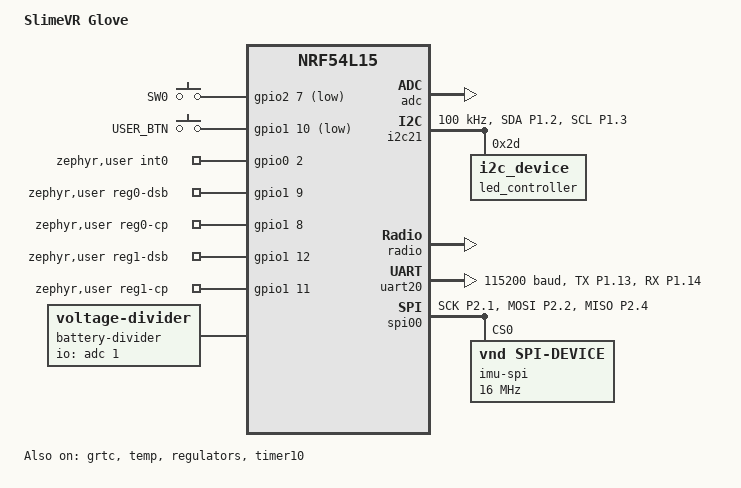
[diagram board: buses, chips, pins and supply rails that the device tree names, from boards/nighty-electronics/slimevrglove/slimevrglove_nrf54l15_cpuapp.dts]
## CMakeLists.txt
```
cmake_minimum_required(VERSION 3.20.0)
find_package(Zephyr REQUIRED HINTS $ENV{ZEPHYR_BASE})

project(Glove_imu_test)

target_sources(app PRIVATE src/main.c)
```

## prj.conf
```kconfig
#CONFIG_NCS_SAMPLES_DEFAULTS
CONFIG_ASSERT=y
CONFIG_ASSERT_NO_COND_INFO=y
CONFIG_ASSERT_NO_MSG_INFO=y
CONFIG_RESET_ON_FATAL_ERROR=y

CONFIG_NCS_APPLICATION_BOOT_BANNER_STRING="SlimeVRGlove"
#CONFIG_NCS_BOOT_BANNER=n
CONFIG_BOOT_BANNER=n

CONFIG_ESB=y
#need to enable for nRF54L
CONFIG_NRFX_DPPI10=y

CONFIG_ADC=y
CONFIG_ADC_NRFX_SAADC=y
CONFIG_FPU=y
CONFIG_I2C=y
CONFIG_SPI=y
CONFIG_PINCTRL=y
CONFIG_SENSOR=y
CONFIG_ESB=y

CONFIG_CMSIS_DSP=y
CONFIG_CMSIS_DSP_BASICMATH=y
CONFIG_CMSIS_DSP_CONTROLLER=y
CONFIG_CMSIS_DSP_FASTMATH=y
CONFIG_CMSIS_DSP_SUPPORT=y

CONFIG_NVS=y
CONFIG_NVS_LOOKUP_CACHE=y
CONFIG_NVS_INIT_BAD_MEMORY_REGION=y

CONFIG_POWEROFF=y
CONFIG_REBOOT=y

CONFIG_FLASH=y
CONFIG_FLASH_PAGE_LAYOUT=y
CONFIG_FLASH_MAP=y

CONFIG_SETTINGS=y
CONFIG_SETTINGS_RUNTIME=y
CONFIG_SETTINGS_NONE=y

CONFIG_MPU_ALLOW_FLASH_WRITE=y

CONFIG_RETAINED_MEM=y

CONFIG_USE_SEGGER_RTT=y
CONFIG_LOG=y
#CONFIG_PRINTK=y
CONFIG_LOG_MODE_DEFERRED=y
CONFIG_LOG_SPEED=y
CONFIG_LOG_BACKEND_RTT=y
CONFIG_CBPRINTF_FP_SUPPORT=y
CONFIG_ADC_LOG_LEVEL_OFF=y
CONFIG_LOG_FUNC_NAME_PREFIX_ERR=y
CONFIG_LOG_BUFFER_SIZE=1536
CONFIG_LOG_BACKEND_UART_AUTOSTART=y
CONFIG_LOG_PROCESS_THREAD_SLEEP_MS=50
CONFIG_LOG_PROCESS_THREAD_STACK_SIZE=1024

CONFIG_PWM=y
CONFIG_GPIO=y

CONFIG_CRC=y

CONFIG_NEWLIB_LIBC=y
#deprecated?
CONFIG_NRFX_TIMER10=y

# Use uncalibrated RC clock on boot, will switch to external oscillator in the app after boot
CONFIG_CLOCK_CONTROL_NRF_K32SRC_RC=y
CONFIG_CLOCK_CONTROL_NRF_K32SRC_RC_CALIBRATION=y
CONFIG_CLOCK_CONTROL_NRF_K32SRC_SYNTH=n

# dont need it
CONFIG_CRYPTO=n

# set timeout for 25ms, sufficient for ~1000 bytes
CONFIG_I2C_NRFX_TRANSFER_TIMEOUT=25

CONFIG_USB_DEVICE_HID=y
CONFIG_USB_DEVICE_VID=0x1209
CONFIG_USB_DEVICE_PID=0x7692
CONFIG_USB_HID_BOOT_PROTOCOL=y
CONFIG_USB_DEVICE_INITIALIZE_AT_BOOT=n
CONFIG_USB_CDC_ACM=y
CONFIG_UART_INTERRUPT_DRIVEN=y
CONFIG_USB_WORKQUEUE_STACK_SIZE=512

CONFIG_SERIAL=y
CONFIG_CONSOLE=y
CONFIG_RTT_CONSOLE=y
CONFIG_UART_CONSOLE=y
CONFIG_UART_LINE_CTRL=y
# fit "write all <base64:173>"
CONFIG_CONSOLE_INPUT_MAX_LINE_LEN=256

CONFIG_LOG=y
CONFIG_USB_DRIVER_LOG_LEVEL_ERR=y
CONFIG_USB_DEVICE_LOG_LEVEL_ERR=y
CONFIG_USB_CDC_ACM_LOG_LEVEL_OFF=y

CONFIG_LOG_BACKEND_UART=y

CONFIG_CONSOLE_SUBSYS=y
CONFIG_CONSOLE_GETLINE=y

CONFIG_NVS_LOG_LEVEL_WRN=y
CONFIG_USB_HID_LOG_LEVEL_WRN=y

CONFIG_USB_DEVICE_SOF=y
CONFIG_USB_HID_REPORTS=256

#CONFIG_USB_HID_POLL_INTERVAL_MS=1
CONFIG_USB_HID_POLL_INTERVAL_MS=0
CONFIG_HID_INTERRUPT_EP_MPS=64
#CONFIG_ENABLE_HID_INT_OUT_EP=y

CONFIG_SYSTEM_WORKQUEUE_STACK_SIZE=1024
CONFIG_MAIN_STACK_SIZE=1024
#crashing on nrf54l at 512

CONFIG_THREAD_NAME=y

CONFIG_HEAP_MEM_POOL_SIZE=2048
CONFIG_ISR_STACK_SIZE=2048

CONFIG_PM_DEVICE=y

CONFIG_BASE64=y

#CONFIG_THREAD_ANALYZER=y
#CONFIG_THREAD_ANALYZER_AUTO=y
#CONFIG_THREAD_ANALYZER_AUTO_INTERVAL=5

#about 20KB saved
#CONFIG_LTO=y
#CONFIG_ISR_TABLES_LOCAL_DECLARATION=y

#CONFIG_USE_IMU_TIMEOUT=n
CONFIG_NRFX_GRTC=y
CONFIG_LOG_BLOCK_IN_THREAD=y
CONFIG_SEGGER_RTT_BUFFER_SIZE_UP=4096
CONFIG_SEGGER_RTT_MODE_BLOCK_IF_FIFO_FULL=y
CONFIG_LOG_BLOCK_IN_THREAD_TIMEOUT_MS=-1

CONFIG_DEBUG_THREAD_INFO=y
CONFIG_ASSERT=y
CONFIG_DEBUG=y

CONFIG_CLOCK_CONTROL_NRF=y
CONFIG_CLOCK_CONTROL_NRF_K32SRC_500PPM=y
CONFIG_ESB_DYNAMIC_INTERRUPTS=n
CONFIG_MPSL=n
CONFIG_NRF_SYS_EVENT=y
CONFIG_NRFX_EGU10=y
CONFIG_SOC_NRF_FORCE_CONSTLAT=y
```

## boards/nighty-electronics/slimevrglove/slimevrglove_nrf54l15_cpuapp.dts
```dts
/dts-v1/;
#include <nordic/nrf54l15_cpuapp.dtsi>
#include "slimevrglove-pinctrl.dtsi"

&pinctrl {
	/omit-if-no-ref/ spi00_default: spi00_default {
		group1 {
			psels = <NRF_PSEL(SPIM_SCK, 2, 1)>,
				<NRF_PSEL(SPIM_MOSI, 2, 2)>;
			nordic,drive-mode = <NRF_DRIVE_E0E1>;
		};

		group2 {
			psels = <NRF_PSEL(SPIM_MISO, 2, 4)>;
			bias-pull-up;
		};
	};

	/omit-if-no-ref/ spi00_sleep: spi00_sleep {
		group1 {
			psels = <NRF_PSEL(SPIM_SCK, 2, 1)>,
				<NRF_PSEL(SPIM_MOSI, 2, 2)>,
				<NRF_PSEL(SPIM_MISO, 2, 4)>;
			low-power-enable;
		};
	};

	/omit-if-no-ref/ uart20_default: uart20_default {
		group1 {
			psels = <NRF_PSEL(UART_TX, 1, 13)>;
		};

		group2 {
			psels = <NRF_PSEL(UART_RX, 1, 14)>;
			bias-pull-up;
		};
	};

	/omit-if-no-ref/ uart20_sleep: uart20_sleep {
		group1 {
			psels = <NRF_PSEL(UART_TX, 1, 13)>,
				<NRF_PSEL(UART_RX, 1, 14)>;
			low-power-enable;
		};
	};

	i2c21_default: i2c21_default {
		group1 {
			psels = <NRF_PSEL(TWIM_SDA, 1, 2)>,
				<NRF_PSEL(TWIM_SCL, 1, 3)>;
			bias-pull-up;
		};
	};

	i2c21_sleep: i2c21_sleep {
		group1 {
			psels = <NRF_PSEL(TWIM_SDA, 1, 2)>,
				<NRF_PSEL(TWIM_SCL, 1, 3)>;
			low-power-enable;
		};
	};
};

/ {
	model = "SlimeVR Glove";
	compatible = "nighty-electronics,slimevrglove-cpuapp";

	buttons {
		compatible = "gpio-keys";

		button0: button_0 {
			gpios = <&gpio2 7 (GPIO_PULL_UP | GPIO_ACTIVE_LOW)>;
			label = "SW0";
		};

		button1: button_1 {
			gpios = <&gpio1 10 (GPIO_PULL_UP | GPIO_ACTIVE_LOW)>;
			label = "USER_BTN";
		};
	};

	zephyr,user {
		int0-gpios = <&gpio0 2 0>;
		reg0-dsb-gpios = <&gpio1 9 (GPIO_PULL_DOWN | GPIO_ACTIVE_HIGH)>;
		reg0-cp-gpios = <&gpio1 8 (GPIO_PULL_DOWN | GPIO_ACTIVE_HIGH)>;
		reg1-dsb-gpios = <&gpio1 12 (GPIO_PULL_DOWN | GPIO_ACTIVE_HIGH)>;
		reg1-cp-gpios = <&gpio1 11 (GPIO_PULL_DOWN | GPIO_ACTIVE_HIGH)>;
		multiple-imus = <1>;
	};

	battery-divider {
		compatible = "voltage-divider";
		status = "okay";
		io-channels = <&adc 1>; // Measure VDDHDIV5
		output-ohms = <1>;
		full-ohms = <2>;
	};

	aliases {
		sw0 = &button0;
		sw1 = &button1;
	};

	chosen {
		zephyr,code-partition = &slot0_partition;
		zephyr,sram = &cpuapp_sram;
		zephyr,flash = &cpuapp_rram;
		zephyr,flash-controller = &rram_controller;
		zephyr,console = &uart20;
		zephyr,shell-uart = &uart20;
		zephyr,uart-mcumgr = &uart20;
		zephyr,bt-mon-uart = &uart20;
		zephyr,bt-c2h-uart = &uart20;
	};
};

&grtc {
	owned-channels = <0 1 2 3 4 5 6 7 8 9 10 11>;
	/* Channels 7-11 reserved for Zero Latency IRQs, 3-4 for FLPR */
	child-owned-channels = <3 4 7 8 9 10 11>;
	status = "okay";
};

&adc {
	status = "okay";
};

&clock {
	status = "okay";
};

&temp {
	status = "okay";
};

&cpuapp_sram {
	status = "okay";
};

&i2c21 {
	status = "okay";
	pinctrl-0 = <&i2c21_default>;
	pinctrl-1 = <&i2c21_sleep>;
	pinctrl-names = "default", "sleep";
	clock-frequency = <I2C_BITRATE_STANDARD>;

	led_controller: led_controller@2d {
		compatible = "i2c_device";
		reg = <0x2d>;
		label = "led_controller";
	};
};

&radio {
	status = "okay";
};

&uicr {
	nfct-pins-as-gpios;
};

&regulators {
	status = "okay";
};

&timer10 {
	status = "okay";
};

&nfct {
	status = "disabled";
};

&gpio0 {
	status = "okay";
};

&gpio1 {
	status = "okay";
};

&gpio2 {
	status = "okay";
};

&gpiote20 {
	status = "okay";
};

&gpiote30 {
	status = "okay";
};

&uart20 {
	status = "okay";
	pinctrl-0 = <&uart20_default>;
	pinctrl-1 = <&uart20_sleep>;
	pinctrl-names = "default", "sleep";
	current-speed = <115200>;
};

&spi00 {

	status = "okay";
	compatible = "nordic,nrf-spim";
	pinctrl-0 = <&spi00_default>;
	pinctrl-1 = <&spi00_sleep>;
	pinctrl-names = "default", "sleep";

	imu_spi: imu_spi@0 {
		status = "okay";
		compatible = "vnd,spi-device";
		label = "imu-spi";
		reg = <0>;
		spi-max-frequency = <DT_FREQ_M(16)>;
	};
};
#include <nordic/nrf54l15_partition.dtsi>
```

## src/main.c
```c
#include <zephyr/kernel.h>
#include <zephyr/drivers/i2c.h>
#include <zephyr/drivers/gpio.h>
#include <zephyr/drivers/spi.h>
#include <zephyr/logging/log.h>

LOG_MODULE_REGISTER(main_app, LOG_LEVEL_INF);

#define I2C21_NODE DT_NODELABEL(led_controller)

#define SW1_NODE DT_ALIAS(sw1)

#define ZEPHYR_USER_NODE DT_PATH(zephyr_user)

#define IMU_NODE DT_NODELABEL(imu_spi)

static struct k_work button_work;

static const struct i2c_dt_spec i2c_led_controller = I2C_DT_SPEC_GET(I2C21_NODE);

static const struct gpio_dt_spec button = GPIO_DT_SPEC_GET(SW1_NODE, gpios);

static struct gpio_callback button_cb_data;

int write_to_i2c(uint8_t reg, uint8_t val)
{
        uint8_t buf[2] = {reg, val};
        int ret = i2c_write_dt(&i2c_led_controller, buf, sizeof(buf));
        if (ret != 0)
        {
                LOG_ERR("I2C Fail [Reg 0x%02X = 0x%02X], Err: %d", reg, val, ret);
        }
        return ret;
}

int read_from_i2c(uint8_t reg, uint8_t *val)
{
        int ret = i2c_write_read_dt(&i2c_led_controller, &reg, sizeof(reg), val, sizeof(*val));
        if (ret != 0)
        {
                LOG_ERR("Failed to read reg 0x%02X [Addr 0x%02X], Err: %d",
                        reg, i2c_led_controller.addr, ret);
        }
        return ret;
}

void dump_lp5817_registers(void)
{
        uint8_t reg_val;
        // Check ENABLE, DEV_CONFIG, MASTER_CURRENT, PWM, and Dot Correction registers
        uint8_t regs_to_check[] = {0x00, 0x01, 0x02, 0x03, 0x04,
                                   0x0D, 0x0E, 0x0F,
                                   0x13,
                                   0x14, 0x15, 0x16,
                                   0x18, 0x19, 0x1A,
                                   0x40};

        LOG_INF("--- LP5817 Register Dump ---");
        for (size_t i = 0; i < ARRAY_SIZE(regs_to_check); i++)
        {
                if (read_from_i2c(regs_to_check[i], &reg_val) == 0)
                {
                        LOG_INF("Reg [0x%02X] = 0x%02X", regs_to_check[i], reg_val);
                }
                else
                {
                        LOG_WRN("Could not read from REG [0x%02X] = 0x%02X", regs_to_check[i], reg_val);
                }
        }
}

void set_led_purple(void)
{
        int ret;

        ret = write_to_i2c(0x00, 0x01);
        if (ret != 0)
        {
                LOG_ERR("Failed to enable LP5817");
                return;
        }
        k_msleep(2);

        ret = write_to_i2c(0x02, 0x3F);
        if (ret != 0)
        {
                LOG_ERR("Failed to set master current");
                return;
        }

        write_to_i2c(0x01, 0x01);

        write_to_i2c(0x02, 0x07);

        write_to_i2c(0x14, 0x01);
        write_to_i2c(0x15, 0x00);
        write_to_i2c(0x16, 0x01);

        LOG_INF("Settings LED colours");
        write_to_i2c(0x18, 0xFF);
        write_to_i2c(0x19, 0x00);
        write_to_i2c(0x1A, 0xFF);

        write_to_i2c(0x0F, 0x55);
}

void set_led_blue()
{
        LOG_INF("Settings LED colours");
        write_to_i2c(0x18, 0x00); // OUT0_PWM (Red) = 0%%
        write_to_i2c(0x19, 0x00); // OUT1_PWM (Green) = 0%
        write_to_i2c(0x1A, 0xFF); // OUT2_PWM (Blue) = 100%

        write_to_i2c(0x0F, 0x55);
}

void button_work_handler(struct k_work *work)
{
        set_led_blue();
        k_sleep(K_MSEC(1000));
        set_led_purple();
}

int init_buttons()
{
        int ret;

        if (!device_is_ready(button.port))
        {
                LOG_ERR("Button GPIO device not ready");
                return -1;
        }

        ret = gpio_pin_configure_dt(&button, GPIO_INPUT);
        if (ret < 0)
        {
                LOG_ERR("Failed to configure button pin");
                return ret;
        }
        ret = gpio_pin_interrupt_configure_dt(&button, GPIO_INT_EDGE_TO_ACTIVE);

        return 1;
}

void button_pressed(const struct device *dev, struct gpio_callback *cb, uint32_t pins)
{
        LOG_INF("Button pressed");
        k_work_submit(&button_work);
}

/*
IMU Read/Write loop
Set Imu
        Use shift reg to set CS pin
        Set CS High
Transceive
        Over the MOSI, MISO pins
Close comms
        Set CS to low

Repeat
*/

int main(void)
{
        // int ret;

        // k_work_init(&button_work, button_work_handler);

        // gpio_init_callback(&button_cb_data, button_pressed, BIT(button.pin));
        // gpio_add_callback(button.port, &button_cb_data);

        // if (!device_is_ready(i2c_led_controller.bus))
        // {
        //         LOG_ERR("I2C bus %s is not ready!\n", i2c_led_controller.bus->name);
        //         return -1;
        // }
        // set_led_purple();

        // // dump_lp5817_registers();

        // ret = init_buttons();
        // while (1)
        // {
        //         k_sleep(K_MSEC(1000));
        // }

        // return 0;
}
```

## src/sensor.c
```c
#include <zephyr/logging/log.h>
#include <zephyr/types.h>
#include <zephyr/drivers/spi.h>

#include "sensor.h"

LOG_MODULE_REGISTER(sensor_scan, LOG_LEVEL_INF);

#define SPI_OP SPI_OP_MODE_MASTER | SPI_TRANSFER_MSB | SPI_WORD_SET(8)

#define ZEPHYR_USER_NODE DT_PATH(zephyr_user)

#define IMU_NODE DT_NODELABEL(imu_spi)

#define ICM45686_REG_WHO_AM_I 0x72
#define SPI_READ_BIT 0x80

static const struct spi_dt_spec imu_spec = SPI_DT_SPEC_GET(IMU_NODE, SPI_OP, 0);

static const struct gpio_dt_spec reg0_dsb = GPIO_DT_SPEC_GET(ZEPHYR_USER_NODE, reg0_dsb_gpios);
static const struct gpio_dt_spec reg0_cp = GPIO_DT_SPEC_GET(ZEPHYR_USER_NODE, reg0_cp_gpios);

static const struct gpio_dt_spec reg1_dsb = GPIO_DT_SPEC_GET(ZEPHYR_USER_NODE, reg1_dsb_gpios);
static const struct gpio_dt_spec reg1_cp = GPIO_DT_SPEC_GET(ZEPHYR_USER_NODE, reg1_cp_gpios);

// static const struct gpio_dt_spec imu_int = GPIO_DT_SPEC_GET(ZEPHYR_USER_NODE, imu_int_gpios);

static struct k_thread sensor_thread_id;
static K_THREAD_STACK_DEFINE(sensor_thread_id_stack, 1024);

// K_THREAD_DEFINE(sensor_init_thread_id, 512, sensor_scan, NULL, NULL, NULL, 1, 0, 0);

int init_shift_reg(void)
{
    if (!gpio_is_ready_dt(&reg0_dsb) || !gpio_is_ready_dt(&reg0_cp) ||
        !gpio_is_ready_dt(&reg1_dsb) || !gpio_is_ready_dt(&reg1_cp))
    {
        LOG_ERR("Shift register GPIO pins not ready");
        return -1;
    }

    gpio_pin_configure_dt(&reg0_dsb, GPIO_OUTPUT_ACTIVE);
    gpio_pin_configure_dt(&reg0_cp, GPIO_OUTPUT_INACTIVE);
    gpio_pin_configure_dt(&reg1_dsb, GPIO_OUTPUT_ACTIVE);
    gpio_pin_configure_dt(&reg1_cp, GPIO_OUTPUT_INACTIVE);

    LOG_INF("Settings shift reg0 all high");
    shift_pattern(&reg0_dsb, &reg0_cp, 0xFF);
    LOG_INF("Settings shift reg1 all high");
    shift_pattern(&reg1_dsb, &reg1_cp, 0xFF);

    k_busy_wait(75);

    /*
    gpio_pin_configure_dt(&imu_int, GPIO_OUTPUT_INACTIVE);

    k_busy_wait(75);

    gpio_pin_set_dt(&imu_int, 1);
    k_busy_wait(75);
    gpio_pin_set_dt(&imu_int, 0);
    k_busy_wait(75);
*/
    return 0;
}

void shift_pattern(const struct gpio_dt_spec *dsb, const struct gpio_dt_spec *cp, uint8_t pattern)
{
    LOG_INF("Shifting pattern %d", pattern);

    for (int i = 7; i >= 0; i--)
    {
        uint8_t bit = (pattern >> i) & 0x01;

        gpio_pin_set_dt(dsb, bit);
        // k_busy_wait(10);

        gpio_pin_set_dt(cp, 1);
        // k_busy_wait(10);
        gpio_pin_set_dt(cp, 0);
        // k_busy_wait(10);
    }
    gpio_pin_set_dt(dsb, 0);
    k_busy_wait(10);
}

void imu_soft_reset_all(void)
{
    uint8_t tx_data[2] = {0x7F, 0x02};
    struct spi_buf tx_buf = {.buf = tx_data, .len = sizeof(tx_data)};
    const struct spi_buf_set tx = {.buffers = &tx_buf, .count = 1};

    for (int i = 0; i < 8; i++)
    {
        uint8_t pattern = (uint8_t)~(1u << (7 - i));

        shift_pattern(&reg0_dsb, &reg0_cp, pattern);
        k_busy_wait(10);

        int err = spi_write_dt(&imu_spec, &tx);
        if (err)
        {
            LOG_ERR("SPI reset write failed on channel %d: %d", i, err);
        }
        else
        {
            LOG_INF("Sent soft reset to ICM-45686 on channel %d", i);
        }

        shift_pattern(&reg0_dsb, &reg0_cp, 0xFF);

        k_msleep(10);
    }
}

int sensor_scan(void)
{
    int err;

    err = spi_is_ready_dt(&imu_spec);
    if (!err)
    {
        LOG_ERR("ERR: SPI device not ready, err %d", err);
        return 0;
    }

    init_shift_reg();
    // imu_soft_reset_all();

    while (1)
    {

        uint8_t tx_data[2] = {ICM45686_REG_WHO_AM_I | SPI_READ_BIT, 0x00};
        uint8_t rx_buf_data[2] = {0};

        struct spi_buf tx_buf = {.buf = tx_data, .len = sizeof(tx_data)};
        const struct spi_buf_set tx = {.buffers = &tx_buf, .count = 1};

        struct spi_buf rx_buf = {.buf = rx_buf_data, .len = sizeof(rx_buf_data)};
        const struct spi_buf_set rx = {.buffers = &rx_buf, .count = 1};

        for (int i = 0; i < 8; i++)
        {
            LOG_INF("Scanning IMU: %d", i);
            uint8_t pattern = (uint8_t)~(1u << (7 - i));

            shift_pattern(&reg0_dsb, &reg0_cp, pattern);
            k_busy_wait(10);

            err = spi_transceive_dt(&imu_spec, &tx, &rx);
            k_busy_wait(10);
            if (err)
            {
                LOG_ERR("SPI Transceive failed on %d with code %d", i, err);
            }

            for (int j = 0; j < sizeof(rx_buf_data); j++)
            {
                LOG_INF("  rx_buf[%d] = 0x%02X", j, rx_buf_data[j]);
            }

            LOG_INF("Register 1 IMU %d WHO_AM_I = 0x%02X (Expected: 0xE9)", i, rx_buf_data[1]);

            shift_pattern(&reg0_dsb, &reg0_cp, 0xFF);
        }

        for (int i = 0; i < 8; i++)
        {
            LOG_INF("Scanning IMU: %d", i);
            uint8_t pattern = (uint8_t)~(1u << (7 - i));

            shift_pattern(&reg1_dsb, &reg1_cp, pattern);
            k_busy_wait(10);

            err = spi_transceive_dt(&imu_spec, &tx, &rx);
            k_busy_wait(10);
            if (err)
            {
                LOG_ERR("SPI Transceive failed on %d with code %d", i, err);
            }

            for (int j = 0; j < sizeof(rx_buf_data); j++)
            {
                LOG_INF("  rx_buf[%d] = 0x%02X", j, rx_buf_data[j]);
            }

            LOG_INF("Register 2 IMU %d WHO_AM_I = 0x%02X (Expected: 0xE9)", i, rx_buf_data[1]);

            shift_pattern(&reg1_dsb, &reg1_cp, 0xFF);
        }
        k_sleep(K_MSEC(30000));
    }

    return 0;
}
```

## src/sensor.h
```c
#ifndef SENSOR
#define SENSOR

#define GLOVE_IMUS 16

int sensor_scan(void);
int init_shift_reg(void);
void shift_pattern(const struct gpio_dt_spec *dsb, const struct gpio_dt_spec *cp, uint8_t pattern);

#endif
```

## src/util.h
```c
/*
	SlimeVR Code is placed under the MIT license
	Copyright (c) 2025 SlimeVR Contributors

	Permission is hereby granted, free of charge, to any person obtaining a copy
	of this software and associated documentation files (the "Software"), to deal
	in the Software without restriction, including without limitation the rights
	to use, copy, modify, merge, publish, distribute, sublicense, and/or sell
	copies of the Software, and to permit persons to whom the Software is
	furnished to do so, subject to the following conditions:

	The above copyright notice and this permission notice shall be included in
	all copies or substantial portions of the Software.

	THE SOFTWARE IS PROVIDED "AS IS", WITHOUT WARRANTY OF ANY KIND, EXPRESS OR
	IMPLIED, INCLUDING BUT NOT LIMITED TO THE WARRANTIES OF MERCHANTABILITY,
	FITNESS FOR A PARTICULAR PURPOSE AND NONINFRINGEMENT. IN NO EVENT SHALL THE
	AUTHORS OR COPYRIGHT HOLDERS BE LIABLE FOR ANY CLAIM, DAMAGES OR OTHER
	LIABILITY, WHETHER IN AN ACTION OF CONTRACT, TORT OR OTHERWISE, ARISING FROM,
	OUT OF OR IN CONNECTION WITH THE SOFTWARE OR THE USE OR OTHER DEALINGS IN
	THE SOFTWARE.
*/
#ifndef SLIMENRF_UTILS
#define SLIMENRF_UTILS

#ifndef M_PI
#define M_PI 3.141592653589793238462643383279502884f
#endif

#ifndef EPS
#define EPS 1e-6f
#endif

#include <stdint.h>
#include <stdbool.h>

// Saturate int to 16 bits
// Optimized to a single ARM assembler instruction
#define SATURATE_INT16(x) ((x) > 32767 ? 32767 : ((x) < -32768 ? -32768 : (x)))

#define SATURATE_UINT11(x) ((x) > 2047 ? 2047 : ((x) < 0 ? 0 : (x)))
#define SATURATE_UINT10(x) ((x) > 1023 ? 1023 : ((x) < 0 ? 0 : (x)))

#define TO_FIXED_15(x) ((int16_t)SATURATE_INT16((x) * (1 << 15)))
#define TO_FIXED_11(x) ((int16_t)SATURATE_INT16((x) * (1 << 11)))
#define TO_FIXED_10(x) ((int16_t)SATURATE_INT16((x) * (1 << 10)))
#define TO_FIXED_7(x) ((int16_t)SATURATE_INT16((x) * (1 << 7)))
#define FIXED_15_TO_DOUBLE(x) (((double)(x)) / (1 << 15))
#define FIXED_11_TO_DOUBLE(x) (((double)(x)) / (1 << 11))
#define FIXED_10_TO_DOUBLE(x) (((double)(x)) / (1 << 10))
#define FIXED_7_TO_DOUBLE(x) (((double)(x)) / (1 << 7))
#define ABS(x) (x < 0 ? -x : x)

#define CONST_EARTH_GRAVITY 9.80665f

void q_normalize(const float *q, float *out);
void q_multiply(const float *x, const float *y, float *out);
void q_conj(const float *q, float *out);
void q_negate(const float *q, float *out);
float q_diff_mag(const float *x, const float *y);
void v_rotate(const float *v, const float *q, float *out);
float v_avg(const float *a);
float v_diff_mag(const float *a, const float *b);
bool q_epsilon(const float *x, const float *y, float eps);
bool v_epsilon(const float *a, const float *b, float eps);

// TODO: does this need to be moved?
void apply_BAinv(float xyz[3], float BAinv[4][3]);

void a_to_lin_a(const float *q, const float *a, float *lin_a);

void q_fem(const float *q, float *out);
void q_iem(const float *v, float *out);

#endif
```
